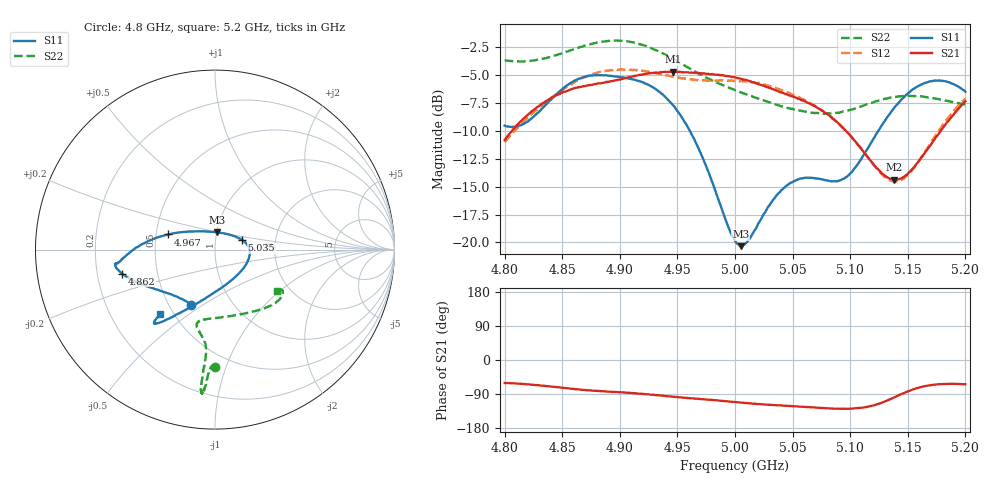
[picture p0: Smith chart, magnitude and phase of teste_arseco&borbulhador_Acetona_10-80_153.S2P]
! Network Analyzer HP8722D
! Hewlett-Packard
! Data name: Linha & Wilkinson
! Saver's name: Rodrigo Anjos
! Comments: Teste da utilização de aquisição
! continua pelo VNA HP8722D
! Time and date: 17/4/2025 15:38
!  Frequency  S11  S21  S12  S22
# HZ  S  MA R 50
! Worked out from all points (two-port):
!   401 points, 4.8 GHz to 5.2 GHz, reference 50 ohm
!   highest |S21| = -4.67 dB at 4.946 GHz (marker M1); lowest = -14.4 dB at 5.138 GHz (marker M2)
!   |S21| within 3 dB of the highest: 4.831 GHz to 5.067 GHz (236.5 MHz wide, 4.78 % of centre); 5.19682 GHz to end of sweep
!   lowest |S11| = -20.3 dB at 5.005 GHz (marker M3), VSWR 1.21, Z = 50 + j9.67 ohm
!   |S11| at or under -10 dB: 4.961 GHz to 5.124 GHz (163.4 MHz wide, 3.24 % of centre)
!   |S22| runs from -8.5 to -1.9 dB; largest |S21 - S12| = 0.87
!   S11 on the Smith chart (normalised r, x): 4.8 GHz: 0.65, -0.45; 4.862 GHz: 0.31, -0.11; 4.967 GHz: 0.58, +0.11; 5.035 GHz: 1.34, +0.15; 5.2 GHz: 0.42, -0.39
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4.8e9  0.334 -113.3  0.2879 -60.7  0.2822 -175.0  0.656 -90.0
4.819e9  0.3465 -133.2  0.3693 -63.9  0.358 -173.5  0.6497 -91.6
4.862e9  0.5357 -165.6  0.4944 -76.9  0.5281 -176.8  0.7422 -93.8
4.867e9  0.548 -167.6  0.5002 -78.6  0.5443 -177.7  0.7561 -93.9
4.902e9  0.549 -172.1  0.5417 -85.5  0.5974 175.3  0.8014 -95.4
4.934e9  0.4754 -178.1  0.5781 -93.5  0.5718 171.9  0.7181 -95.7
4.946e9  0.4136 176.3  0.5839 -96.8  0.5546 172.1  0.6656 -95.4
4.967e9  0.2737 162.0  0.5757 -102.0  0.5349 173.9  0.5764 -94.9
5e9  0.1019 102.0  0.5502 -111.1  0.5321 176.2  0.4815 -99.0
5.005e9  0.09623 84.5  0.542 -112.4  0.5303 176.2  0.4706 -100.3
5.012e9  0.1029 61.5  0.5302 -114.1  0.5247 175.9  0.4575 -101.7
5.035e9  0.1598 19.9  0.4824 -119.1  0.4936 174.8  0.4159 -103.3
5.05e9  0.1866 4.7  0.4516 -121.8  0.4594 174.2  0.3973 -99.7
5.067e9  0.1949 -13.5  0.4145 -124.9  0.4169 173.8  0.3813 -90.7
5.087e9  0.188 -45.6  0.3523 -128.5  0.351 173.8  0.3812 -75.6
5.097e9  0.197 -66.1  0.3138 -128.9  0.314 174.8  0.3895 -67.3
5.134e9  0.3754 -116.2  0.1936 -104.6  0.1906 -157.5  0.4453 -43.0
5.138e9  0.4003 -118.6  0.191 -98.9  0.1876 -151.1  0.4482 -41.1
5.151e9  0.4701 -124.3  0.2059 -81.6  0.2035 -131.0  0.4545 -36.3
5.17e9  0.5284 -128.7  0.274 -66.3  0.28 -112.4  0.4457 -31.9
5.184e9  0.5256 -130.0  0.346 -62.9  0.3573 -107.1  0.4321 -31.0
5.2e9  0.4746 -130.4  0.4296 -64.1  0.4418 -106.3  0.4151 -33.3
